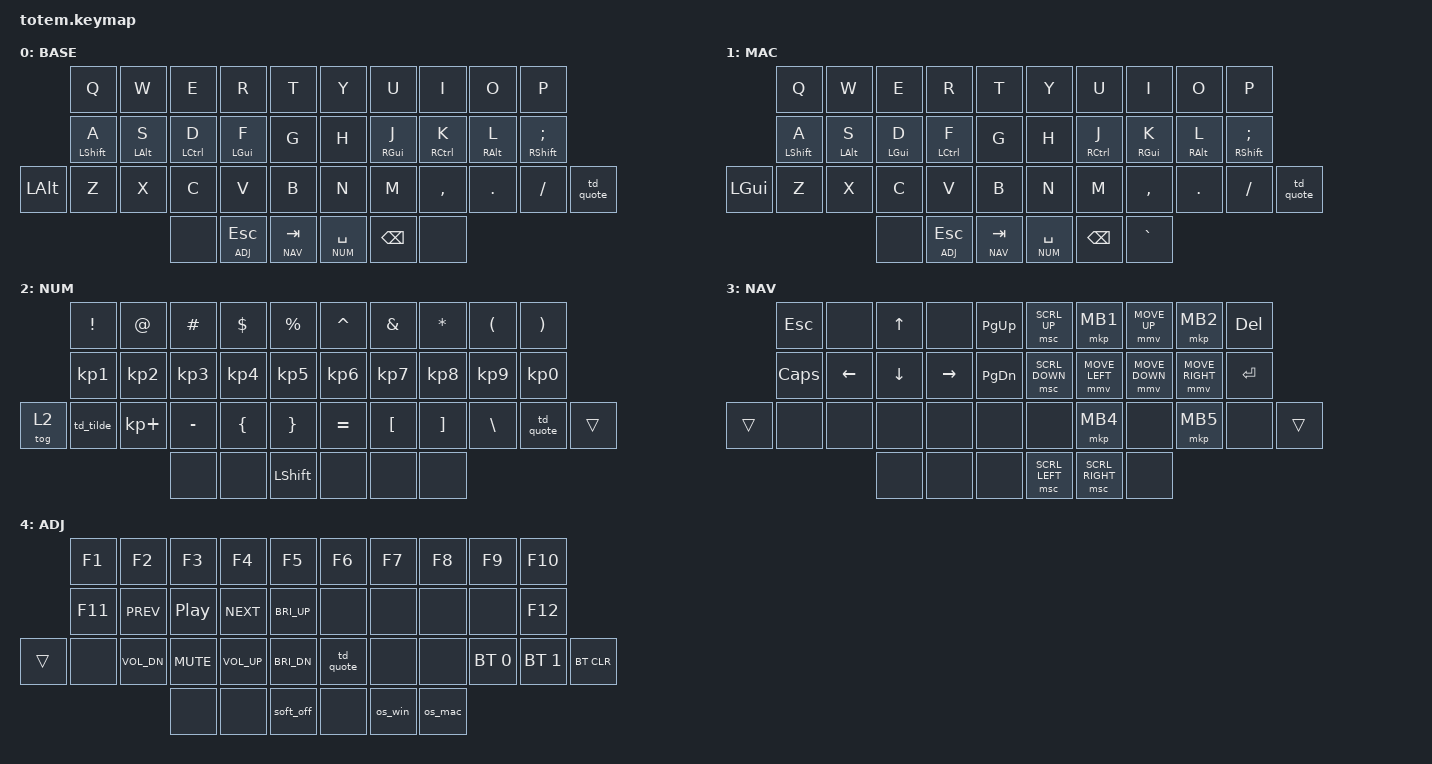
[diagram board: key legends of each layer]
//
//                                                        ▀▀▀▀▀     ▀▀▀▀▀          ▀▀█▀▀
//                                                        ▄▀▀▀▄  ▄  ▄▀▀▀▄  ▄  ▄▀▀▀▄  █  ▄▀▀▀▄
//                                                        █   █  █  █   █  █  █   █  █  █   █
//                                                         ▀▀▀   █   ▀▀▀   █   ▀▀▀   ▀   ▀▀▀
//                                                               █      ▄▄▄█▄▄▄    █   █  
//                                                               ▀      █  █  █     █▄█
//                                                             ▀▀▀▀▀    █  █  █      ▀
//                                                                      ▀  ▀  ▀
//
// ▄▄▄▄▄▄▄▄▄▄▄▄▄▄▄▄▄▄▄▄▄▄▄▄▄▄▄▄▄▄▄▄▄▄▄▄▄▄▄▄▄▄▄▄▄▄▄▄▄▄▄▄▄▄▄▄▄▄▄▄▄▄▄▄▄▄▄▄▄▄▄▄▄▄▄▄▄▄▄▄▄▄▄▄▄▄▄▄▄▄▄▄▄▄▄▄▄▄▄▄▄▄▄▄▄▄▄▄▄▄▄▄▄▄▄▄▄▄▄▄▄▄▄▄▄▄▄▄▄▄▄▄▄▄▄▄▄▄▄▄▄▄▄▄▄▄▄▄▄
       
#define ZMK_POINTING_DEFAULT_MOVE_VAL 1050 
#define ZMK_POINTING_DEFAULT_SCRL_VAL 15 

#include <behaviors.dtsi>
#include <dt-bindings/zmk/keys.h>
#include <dt-bindings/zmk/bt.h>
#include <dt-bindings/zmk/outputs.h>
#include <dt-bindings/zmk/pointing.h>

#define BASE 0
#define MAC  1
#define NUM  2
#define NAV  3
#define ADJ  4

&mt {
  quick-tap-ms = <130>;
  global-quick-tap;
  flavor = "tap-preferred";
  tapping-term-ms = <200>;
};

&lt {
        quick-tap-ms=<175>;
};

&soft_off {
    hold-time-ms = <2000>; 
};

/ {
     combos {
            compatible = "zmk,combos";
            combo_esc {
                timeout-ms = <50>;
                key-positions = <28 29>;
                bindings = <&kp ESC>;
            };
    };

    behaviors {

        td_quote: td_quote {
            compatible = "zmk,behavior-tap-dance";
            #binding-cells = <0>;
            tapping-term-ms = <200>;
            bindings = <&kp SQT>, <&kp DQT>;
        };

        td_tilde: td_tilde {
            compatible = "zmk,behavior-tap-dance";
            #binding-cells = <0>;
            tapping-term-ms = <200>;
            bindings = <&kp GRAVE>, <&kp TILDE>;
        };
    };

    macros {
        os_win: os_win {
                label = "OS_WIN";
                compatible = "zmk,behavior-macro";
                #binding-cells = <0>;
                bindings
                = <&macro_tap &bt BT_SEL 0>
                , <&macro_tap &to BASE>
                ;
                };

        os_mac: os_mac {
                label = "OS_MAC";
                compatible = "zmk,behavior-macro";
                #binding-cells = <0>;
                bindings
                = <&macro_tap &bt BT_SEL 1>
                , <&macro_tap &to MAC>
                ;
                };
        };


        keymap {
                compatible = "zmk,keymap";
// ▄▄▄▄▄▄▄▄▄▄▄▄▄▄▄▄▄▄▄▄▄▄▄▄▄▄▄▄▄▄▄▄▄▄▄▄▄▄▄▄▄▄▄▄▄▄▄▄▄▄▄▄▄▄▄▄▄▄▄▄▄▄▄▄▄▄▄▄▄▄▄▄▄▄▄▄▄▄▄▄▄▄▄▄▄▄▄▄▄▄▄▄▄▄▄▄▄▄▄▄▄▄▄▄▄▄▄▄▄▄▄▄▄▄▄▄▄▄▄▄▄▄▄▄▄▄▄▄▄▄▄▄▄▄▄▄▄▄▄▄▄▄▄▄▄▄▄▄▄

                base_layer {
// ┏━━━━━━━━━━━━━━━━━━━━━━━━━━━━━━━━━━━━━━━┓
label= "BASE"                              ;
// ┗━━━━━━━━━━━━━━━━━━━━━━━━━━━━━━━━━━━━━━━┛
//             ┏━━━━━━━━━━━┳━━━━━━━━━━━┳━━━━━━━━━━━┳━━━━━━━━━━━┳━━━━━━━━━━━┓   ┏━━━━━━━━━━━┳━━━━━━━━━━━┳━━━━━━━━━━━┳━━━━━━━━━━━┳━━━━━━━━━━━┓
//             ┃     Q     ┃     W     ┃     E     ┃     R     ┃     T     ┃   ┃     Y     ┃     U     ┃     I     ┃     O     ┃     P     ┃
//             ┣━━━━━━━━━━━╋━━━━━━━━━━━╋━━━━━━━━━━━╋━━━━━━━━━━━╋━━━━━━━━━━━┫   ┣━━━━━━━━━━━╋━━━━━━━━━━━╋━━━━━━━━━━━╋━━━━━━━━━━━╋━━━━━━━━━━━┫
//             ┃     A     ┃     S     ┃     D     ┃     F     ┃     G     ┃   ┃     H     ┃     J     ┃     K     ┃     L     ┃     ;     ┃
// ┏━━━━━━━━━━━╋━━━━━━━━━━━╋━━━━━━━━━━━╋━━━━━━━━━━━╋━━━━━━━━━━━╋━━━━━━━━━━━┫   ┣━━━━━━━━━━━╋━━━━━━━━━━━╋━━━━━━━━━━━╋━━━━━━━━━━━╋━━━━━━━━━━━╋━━━━━━━━━━━┓
// ┃           ┃     Z     ┃     X     ┃     C     ┃     V     ┃     B     ┃   ┃     N     ┃     M     ┃     ,     ┃     .     ┃     /     ┃           ┃
// ┗━━━━━━━━━━━┻━━━━━━━━━━━┻━━━━━━━━━━━╋━━━━━━━━━━━╋━━━━━━━━━━━╋━━━━━━━━━━━┫   ┣━━━━━━━━━━━╋━━━━━━━━━━━╋━━━━━━━━━━━╋━━━━━━━━━━━┻━━━━━━━━━━━┻━━━━━━━━━━━┛
//                                     ┃    DEL    ┃    TAB    ┃    TAB    ┃   ┃    SPC    ┃    BSPC   ┃    ESC    ┃
//                                     ┗━━━━━━━━━━━┻━━━━━━━━━━━┻━━━━━━━━━━━┛   ┗━━━━━━━━━━━┻━━━━━━━━━━━┻━━━━━━━━━━━┛
 bindings = <
// ╷           ╷           ╷           ╷           ╷           ╷           ╷   ╷           ╷           ╷           ╷           ╷           ╷           ╷

                &kp Q        &kp W       &kp E       &kp R        &kp T           &kp Y          &kp U       &kp I        &kp O       &kp P
                &mt LSHFT A  &mt LALT S  &mt LCTRL D &mt LGUI F   &kp G           &kp H          &mt RGUI J  &mt RCTRL K  &mt RALT L  &mt RSHFT SEMI
     &kp LALT   &kp Z        &kp X       &kp C       &kp V        &kp B           &kp N          &kp M       &kp COMMA    &kp DOT     &kp FSLH       &td_quote
                                         &none       &lt ADJ ESC  &lt NAV TAB     &lt NUM SPACE  &kp BSPC    &none
                        >;
                };

// ▄▄▄▄▄▄▄▄▄▄▄▄▄▄▄▄▄▄▄▄▄▄▄▄▄▄▄▄▄▄▄▄▄▄▄▄▄▄▄▄▄▄▄▄▄▄▄▄▄▄▄▄▄▄▄▄▄▄▄▄▄▄▄▄▄▄▄▄▄▄▄▄▄▄▄▄▄▄▄▄▄▄▄▄▄▄▄▄▄▄▄▄▄▄▄▄▄▄▄▄▄▄▄▄▄▄▄▄▄▄▄▄▄▄▄▄▄▄▄▄▄▄▄▄▄▄▄▄▄▄▄▄▄▄▄▄▄▄▄▄▄▄▄▄▄▄▄▄▄

                mac_layer {
// ┏━━━━━━━━━━━━━━━━━━━━━━━━━━━━━━━━━━━━━━━┓
label= "MAC"                               ;
// ┗━━━━━━━━━━━━━━━━━━━━━━━━━━━━━━━━━━━━━━━┛
//             ┏━━━━━━━━━━━┳━━━━━━━━━━━┳━━━━━━━━━━━┳━━━━━━━━━━━┳━━━━━━━━━━━┓   ┏━━━━━━━━━━━┳━━━━━━━━━━━┳━━━━━━━━━━━┳━━━━━━━━━━━┳━━━━━━━━━━━┓
//             ┃     Q     ┃     W     ┃     E     ┃     R     ┃     T     ┃   ┃     Y     ┃     U     ┃     I     ┃     O     ┃     P     ┃
//             ┣━━━━━━━━━━━╋━━━━━━━━━━━╋━━━━━━━━━━━╋━━━━━━━━━━━╋━━━━━━━━━━━┫   ┣━━━━━━━━━━━╋━━━━━━━━━━━╋━━━━━━━━━━━╋━━━━━━━━━━━╋━━━━━━━━━━━┫
//             ┃     A     ┃     S     ┃     D     ┃     F     ┃     G     ┃   ┃     H     ┃     J     ┃     K     ┃     L     ┃     ;     ┃
// ┏━━━━━━━━━━━╋━━━━━━━━━━━╋━━━━━━━━━━━╋━━━━━━━━━━━╋━━━━━━━━━━━╋━━━━━━━━━━━┫   ┣━━━━━━━━━━━╋━━━━━━━━━━━╋━━━━━━━━━━━╋━━━━━━━━━━━╋━━━━━━━━━━━╋━━━━━━━━━━━┓
// ┃           ┃     Z     ┃     X     ┃     C     ┃     V     ┃     B     ┃   ┃     N     ┃     M     ┃     ,     ┃     .     ┃     /     ┃           ┃
// ┗━━━━━━━━━━━┻━━━━━━━━━━━┻━━━━━━━━━━━╋━━━━━━━━━━━╋━━━━━━━━━━━╋━━━━━━━━━━━┫   ┣━━━━━━━━━━━╋━━━━━━━━━━━╋━━━━━━━━━━━╋━━━━━━━━━━━┻━━━━━━━━━━━┻━━━━━━━━━━━┛
//                                     ┃    DEL    ┃    TAB    ┃    TAB    ┃   ┃    SPC    ┃    BSPC   ┃    ESC    ┃
//                                     ┗━━━━━━━━━━━┻━━━━━━━━━━━┻━━━━━━━━━━━┛   ┗━━━━━━━━━━━┻━━━━━━━━━━━┻━━━━━━━━━━━┛
 bindings = <
// ╷           ╷           ╷           ╷           ╷           ╷           ╷   ╷           ╷           ╷           ╷           ╷           ╷           ╷

                &kp Q        &kp W       &kp E       &kp R        &kp T           &kp Y          &kp U        &kp I        &kp O       &kp P
                &mt LSHFT A  &mt LALT S  &mt LGUI D  &mt LCTRL F  &kp G           &kp H          &mt RCTRL J  &mt RGUI K   &mt RALT L  &mt RSHFT SEMI
     &kp LGUI   &kp Z        &kp X       &kp C       &kp V        &kp B           &kp N          &kp M        &kp COMMA    &kp DOT     &kp FSLH       &td_quote 
                                         &none       &lt ADJ ESC  &lt NAV TAB     &lt NUM SPACE  &kp BSPC     &kp GRAVE
                        >;
                };

// ▄▄▄▄▄▄▄▄▄▄▄▄▄▄▄▄▄▄▄▄▄▄▄▄▄▄▄▄▄▄▄▄▄▄▄▄▄▄▄▄▄▄▄▄▄▄▄▄▄▄▄▄▄▄▄▄▄▄▄▄▄▄▄▄▄▄▄▄▄▄▄▄▄▄▄▄▄▄▄▄▄▄▄▄▄▄▄▄▄▄▄▄▄▄▄▄▄▄▄▄▄▄▄▄▄▄▄▄▄▄▄▄▄▄▄▄▄▄▄▄▄▄▄▄▄▄▄▄▄▄▄▄▄▄▄▄▄▄▄▄▄▄▄▄▄▄▄▄▄


                num_layer {
// ┏━━━━━━━━━━━━━━━━━━━━━━━━━━━━━━━━━━━━━━━┓
label= "NUM"                               ;
// ┗━━━━━━━━━━━━━━━━━━━━━━━━━━━━━━━━━━━━━━━┛
//             ┏━━━━━━━━━━━┳━━━━━━━━━━━┳━━━━━━━━━━━┳━━━━━━━━━━━┳━━━━━━━━━━━┓   ┏━━━━━━━━━━━┳━━━━━━━━━━━┳━━━━━━━━━━━┳━━━━━━━━━━━┳━━━━━━━━━━━┓
//             ┃           ┃           ┃     UP    ┃           ┃     {     ┃   ┃     }     ┃     7     ┃     8     ┃     9     ┃     +     ┃
//             ┣━━━━━━━━━━━╋━━━━━━━━━━━╋━━━━━━━━━━━╋━━━━━━━━━━━╋━━━━━━━━━━━┫   ┣━━━━━━━━━━━╋━━━━━━━━━━━╋━━━━━━━━━━━╋━━━━━━━━━━━╋━━━━━━━━━━━┫
//             ┃   SHIFT   ┃   LEFT    ┃    DOWN   ┃   RIGHT   ┃     [     ┃   ┃     ]     ┃     4     ┃     5     ┃     6     ┃     -     ┃
// ┏━━━━━━━━━━━╋━━━━━━━━━━━╋━━━━━━━━━━━╋━━━━━━━━━━━╋━━━━━━━━━━━╋━━━━━━━━━━━┫   ┣━━━━━━━━━━━╋━━━━━━━━━━━╋━━━━━━━━━━━╋━━━━━━━━━━━╋━━━━━━━━━━━╋━━━━━━━━━━━┓
// ┃           ┃           ┃   P UP    ┃  C LOCK   ┃  P DOWN   ┃     (     ┃   ┃     )     ┃     1     ┃     2     ┃     3     ┃     *     ┃           ┃
// ┗━━━━━━━━━━━┻━━━━━━━━━━━┻━━━━━━━━━━━╋━━━━━━━━━━━╋━━━━━━━━━━━╋━━━━━━━━━━━┫   ┣━━━━━━━━━━━╋━━━━━━━━━━━╋━━━━━━━━━━━╋━━━━━━━━━━━┻━━━━━━━━━━━┻━━━━━━━━━━━┛
//                                     ┃           ┃    TAB    ┃    SPC    ┃   ┃    DEL    ┃     0     ┃           ┃
//                                     ┗━━━━━━━━━━━┻━━━━━━━━━━━┻━━━━━━━━━━━┛   ┗━━━━━━━━━━━┻━━━━━━━━━━━┻━━━━━━━━━━━┛
 bindings = <
// ╷           ╷           ╷           ╷           ╷           ╷           ╷   ╷           ╷           ╷           ╷           ╷           ╷           ╷

                &kp EXCL    &kp AT       &kp HASH      &kp DLLR   &kp PRCNT        &kp CARET    &kp AMPS   &kp STAR   &kp LPAR   &kp RPAR
                &kp KP_N1   &kp KP_N2    &kp KP_N3     &kp KP_N4  &kp KP_N5        &kp KP_N6    &kp KP_N7  &kp KP_N8  &kp KP_N9  &kp KP_N0
    &tog 2      &td_tilde   &kp KP_PLUS  &kp MINUS     &kp LBRC   &kp RBRC         &kp EQUAL    &kp LBKT   &kp RBKT   &kp BSLH   &td_quote   &trans      
                                         &none         &none      &kp LSHFT        &none        &none      &none     
                        >;
                };

// ▄▄▄▄▄▄▄▄▄▄▄▄▄▄▄▄▄▄▄▄▄▄▄▄▄▄▄▄▄▄▄▄▄▄▄▄▄▄▄▄▄▄▄▄▄▄▄▄▄▄▄▄▄▄▄▄▄▄▄▄▄▄▄▄▄▄▄▄▄▄▄▄▄▄▄▄▄▄▄▄▄▄▄▄▄▄▄▄▄▄▄▄▄▄▄▄▄▄▄▄▄▄▄▄▄▄▄▄▄▄▄▄▄▄▄▄▄▄▄▄▄▄▄▄▄▄▄▄▄▄▄▄▄▄▄▄▄▄▄▄▄▄▄▄▄▄▄▄▄


                nav_layer {
// ┏━━━━━━━━━━━━━━━━━━━━━━━━━━━━━━━━━━━━━━━┓
label= "NAV"                               ;
// ┗━━━━━━━━━━━━━━━━━━━━━━━━━━━━━━━━━━━━━━━┛
//             ┏━━━━━━━━━━━┳━━━━━━━━━━━┳━━━━━━━━━━━┳━━━━━━━━━━━┳━━━━━━━━━━━┓   ┏━━━━━━━━━━━┳━━━━━━━━━━━┳━━━━━━━━━━━┳━━━━━━━━━━━┳━━━━━━━━━━━┓
//             ┃     !     ┃     @     ┃     #     ┃     $     ┃     %     ┃   ┃     ˆ     ┃     &     ┃     Ü     ┃     '     ┃     "     ┃
//             ┣━━━━━━━━━━━╋━━━━━━━━━━━╋━━━━━━━━━━━╋━━━━━━━━━━━╋━━━━━━━━━━━┫   ┣━━━━━━━━━━━╋━━━━━━━━━━━╋━━━━━━━━━━━╋━━━━━━━━━━━╋━━━━━━━━━━━┫
//             ┃     Ä     ┃           ┃    SZ     ┃           ┃           ┃   ┃   MUTE    ┃   YEN     ┃   EURO    ┃  POUND    ┃     Ö     ┃
// ┏━━━━━━━━━━━╋━━━━━━━━━━━╋━━━━━━━━━━━╋━━━━━━━━━━━╋━━━━━━━━━━━╋━━━━━━━━━━━┫   ┣━━━━━━━━━━━╋━━━━━━━━━━━╋━━━━━━━━━━━╋━━━━━━━━━━━╋━━━━━━━━━━━╋━━━━━━━━━━━┓
// ┃           ┃  EMAIL1   ┃  EMAIL2   ┃           ┃           ┃           ┃   ┃   VOL-    ┃   VOL+    ┃   LAST    ┃   NEXT    ┃     \     ┃           ┃
// ┗━━━━━━━━━━━┻━━━━━━━━━━━┻━━━━━━━━━━━╋━━━━━━━━━━━╋━━━━━━━━━━━╋━━━━━━━━━━━┫   ┣━━━━━━━━━━━╋━━━━━━━━━━━╋━━━━━━━━━━━╋━━━━━━━━━━━┻━━━━━━━━━━━┻━━━━━━━━━━━┛
//                                     ┃           ┃    GIF    ┃    ADJ    ┃   ┃           ┃           ┃           ┃
//                                     ┗━━━━━━━━━━━┻━━━━━━━━━━━┻━━━━━━━━━━━┛   ┗━━━━━━━━━━━┻━━━━━━━━━━━┻━━━━━━━━━━━┛
 bindings = <
// ╷           ╷           ╷           ╷           ╷           ╷           ╷   ╷           ╷           ╷           ╷           ╷           ╷           ╷

                &kp ESC    &none      &kp UP    &none      &kp PG_UP     &msc SCRL_UP      &mkp MB1         &mmv MOVE_UP    &mkp MB2          &kp DEL    
                &kp CAPS   &kp LEFT   &kp DOWN  &kp RIGHT  &kp PG_DN     &msc SCRL_DOWN    &mmv MOVE_LEFT   &mmv MOVE_DOWN  &mmv MOVE_RIGHT   &kp ENTER 
    &trans      &none      &none      &none     &none      &none         &none             &mkp MB4         &none           &mkp MB5          &none      &trans         
                                      &none     &none      &none         &msc SCRL_LEFT    &msc SCRL_RIGHT  &none    
                        >;
                };

// ▄▄▄▄▄▄▄▄▄▄▄▄▄▄▄▄▄▄▄▄▄▄▄▄▄▄▄▄▄▄▄▄▄▄▄▄▄▄▄▄▄▄▄▄▄▄▄▄▄▄▄▄▄▄▄▄▄▄▄▄▄▄▄▄▄▄▄▄▄▄▄▄▄▄▄▄▄▄▄▄▄▄▄▄▄▄▄▄▄▄▄▄▄▄▄▄▄▄▄▄▄▄▄▄▄▄▄▄▄▄▄▄▄▄▄▄▄▄▄▄▄▄▄▄▄▄▄▄▄▄▄▄▄▄▄▄▄▄▄▄▄▄▄▄▄▄▄▄▄


                adjust_layer {
// ┏━━━━━━━━━━━━━━━━━━━━━━━━━━━━━━━━━━━━━━━┓
label= "ADJ"                               ;
// ┗━━━━━━━━━━━━━━━━━━━━━━━━━━━━━━━━━━━━━━━┛
//             ┏━━━━━━━━━━━┳━━━━━━━━━━━┳━━━━━━━━━━━┳━━━━━━━━━━━┳━━━━━━━━━━━┓   ┏━━━━━━━━━━━┳━━━━━━━━━━━┳━━━━━━━━━━━┳━━━━━━━━━━━┳━━━━━━━━━━━┓
//             ┃   RESET   ┃ BT CLEAR  ┃  OUT TOG  ┃           ┃           ┃   ┃           ┃    F7     ┃    F8     ┃    F9     ┃    F12    ┃
//             ┣━━━━━━━━━━━╋━━━━━━━━━━━╋━━━━━━━━━━━╋━━━━━━━━━━━╋━━━━━━━━━━━┫   ┣━━━━━━━━━━━╋━━━━━━━━━━━╋━━━━━━━━━━━╋━━━━━━━━━━━╋━━━━━━━━━━━┫
//             ┃ BOOTLOAD  ┃ BT NEXT   ┃           ┃           ┃           ┃   ┃           ┃    F4     ┃    F5     ┃    F6     ┃    F11    ┃
// ┏━━━━━━━━━━━╋━━━━━━━━━━━╋━━━━━━━━━━━╋━━━━━━━━━━━╋━━━━━━━━━━━╋━━━━━━━━━━━┫   ┣━━━━━━━━━━━╋━━━━━━━━━━━╋━━━━━━━━━━━╋━━━━━━━━━━━╋━━━━━━━━━━━╋━━━━━━━━━━━┓
// ┃           ┃           ┃ BT PREV   ┃           ┃           ┃           ┃   ┃           ┃    F1     ┃    F2     ┃    F3     ┃    F10    ┃           ┃
// ┗━━━━━━━━━━━┻━━━━━━━━━━━┻━━━━━━━━━━━╋━━━━━━━━━━━╋━━━━━━━━━━━╋━━━━━━━━━━━┫   ┣━━━━━━━━━━━╋━━━━━━━━━━━╋━━━━━━━━━━━╋━━━━━━━━━━━┻━━━━━━━━━━━┻━━━━━━━━━━━┛
//                                     ┃           ┃           ┃           ┃   ┃           ┃           ┃           ┃
//                                     ┗━━━━━━━━━━━┻━━━━━━━━━━━┻━━━━━━━━━━━┛   ┗━━━━━━━━━━━┻━━━━━━━━━━━┻━━━━━━━━━━━┛
 bindings = <
// ╷           ╷           ╷           ╷           ╷           ╷           ╷   ╷           ╷           ╷           ╷           ╷           ╷           ╷

                &kp F1    &kp F2        &kp F3        &kp F4        &kp F5                &kp F6      &kp F7    &kp F8   &kp F9        &kp F10
                &kp F11   &kp C_PREV    &kp C_PP      &kp C_NEXT    &kp C_BRI_UP          &none       &none     &none    &none         &kp F12  
      &trans    &none     &kp C_VOL_DN  &kp C_MUTE    &kp C_VOL_UP  &kp C_BRI_DN          &td_quote   &none     &none    &bt BT_SEL 0  &bt BT_SEL 1   &bt BT_CLR        
                                            &none         &none     &soft_off             &none       &os_win   &os_mac      
                        >;
                };                
               
        };
};
